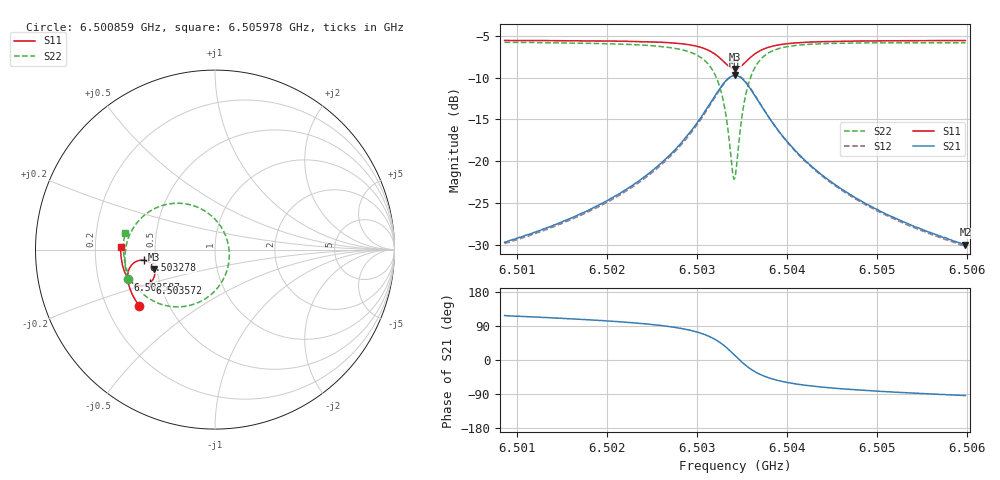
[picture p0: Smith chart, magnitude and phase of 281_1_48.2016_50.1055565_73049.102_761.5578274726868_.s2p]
#  HZ  S  RI  R  50.00
! Rohde & Schwarz Vector Network Analyzer
! Rohde-Schwarz,ZNB20-2Port,1311601062101988,3.16
! Created: UTC 3/20/2024, 11:48:40 AM
! freq[Hz]  re:S11  im:S11  re:S21  im:S21  re:S12  im:S12  re:S22  im:S22
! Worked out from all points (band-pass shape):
!   401 points, 6.500859 GHz to 6.505978 GHz, reference 50 ohm
!   highest |S21| = -9.74 dB at 6.503419 GHz (marker M1); lowest = -29.9 dB at 6.505978 GHz (marker M2)
!   |S21| within 3 dB of the highest: 6.503163 GHz to 6.503674 GHz (511.1 kHz wide, 0.00786 % of centre)
!   lowest |S11| = -9.0 dB at 6.503419 GHz (marker M3), VSWR 2.10, Z = 24.2 - j6.03 ohm
!   |S11| at or under -10 dB: nowhere
!   |S22| runs from -22.1 to -5.8 dB; largest |S21 - S12| = 0.011
!   S11 on the Smith chart (normalised r, x): 6.500859 GHz: 0.34, -0.30; 6.502587 GHz: 0.33, -0.15; 6.503278 GHz: 0.43, -0.06; 6.503572 GHz: 0.44, -0.20; 6.505978 GHz: 0.31, +0.01
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6.5008595e9  -0.422 -0.3149  -0.0151 0.0293  -0.0133 0.0294  -0.4872 -0.1622
6.5017169e9  -0.4596 -0.2523  -0.0144 0.0469  -0.0122 0.0464  -0.5019 -0.0726
6.5021648e9  -0.4758 -0.2133  -0.0118 0.0646  -0.00896 0.0636  -0.5001 -0.0106
6.5025743e9  -0.486 -0.169  -0.00288 0.0951  0.000769 0.0927  -0.4811 0.0686
6.5025871e9  -0.486 -0.1674  -0.00224 0.0963  0.00133 0.094  -0.4799 0.0717
6.5028302e9  -0.4854 -0.1323  0.016 0.1295  0.0198 0.1256  -0.4413 0.1411
6.5030094e9  -0.4739 -0.0991  0.0506 0.1655  0.0539 0.1601  -0.3729 0.2071
6.5031757e9  -0.4392 -0.066  0.1282 0.1987  0.1294 0.1923  -0.2307 0.2575
6.5032781e9  -0.3966 -0.0593  0.2133 0.1897  0.2136 0.1843  -0.0824 0.2294
6.5033293e9  -0.3711 -0.0679  0.2613 0.1617  0.2623 0.1571  -0.00262 0.1719
6.5033933e9  -0.3447 -0.0943  0.3088 0.0983  0.3111 0.0933  0.0686 0.0501
6.5034189e9  -0.3384 -0.1087  0.3189 0.0664  0.3219 0.0605  0.0791 -0.00948
6.5034445e9  -0.3354 -0.1242  0.3223 0.033  0.3256 0.0261  0.0771 -0.0702
6.5035085e9  -0.3427 -0.161  0.3042 -0.044  0.3063 -0.0539  0.0221 -0.2038
6.5035724e9  -0.3636 -0.1866  0.2618 -0.0974  0.2607 -0.1087  -0.0738 -0.2854
6.5036748e9  -0.4028 -0.2015  0.1879 -0.1332  0.1826 -0.1426  -0.2224 -0.3189
6.5038412e9  -0.4485 -0.1918  0.1072 -0.1303  0.1004 -0.1351  -0.3676 -0.2726
6.5040203e9  -0.4756 -0.1704  0.0633 -0.1104  0.0571 -0.1127  -0.4388 -0.2082
6.5042763e9  -0.4963 -0.1403  0.0336 -0.0866  0.0289 -0.0871  -0.4818 -0.1366
6.5046474e9  -0.5114 -0.102  0.0151 -0.0642  0.012 -0.0639  -0.5036 -0.0642
6.5051337e9  -0.5212 -0.0572  0.00485 -0.0473  0.00272 -0.0467  -0.51 0.00366
6.5059783e9  -0.5259 0.014  -0.00205 -0.0318  -0.00341 -0.031  -0.5018 0.0919
